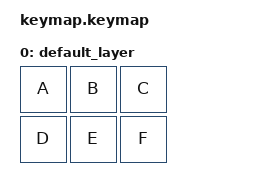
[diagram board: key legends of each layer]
/ {
    keymap {
        compatible = "zmk,keymap";

        default_layer {
            bindings = <
                &kp A &kp B &kp C
                &kp D &kp E &kp F
            >;
        };
    };

    behaviors {
        encoder1_ccw: encoder1_ccw {
            compatible = "zmk,behavior-momentary";
            label = "Encoder 1 CCW";
            bindings = <&kp LEFT>;
        };

        encoder1_cw: encoder1_cw {
            compatible = "zmk,behavior-momentary";
            label = "Encoder 1 CW";
            bindings = <&kp RIGHT>;
        };

        encoder2_ccw: encoder2_ccw {
            compatible = "zmk,behavior-momentary";
            label = "Encoder 2 CCW";
            bindings = <&kp VOLUME_DOWN>;
        };

        encoder2_cw: encoder2_cw {
            compatible = "zmk,behavior-momentary";
            label = "Encoder 2 CW";
            bindings = <&kp VOLUME_UP>;
        };
    };

    combos {};
};
